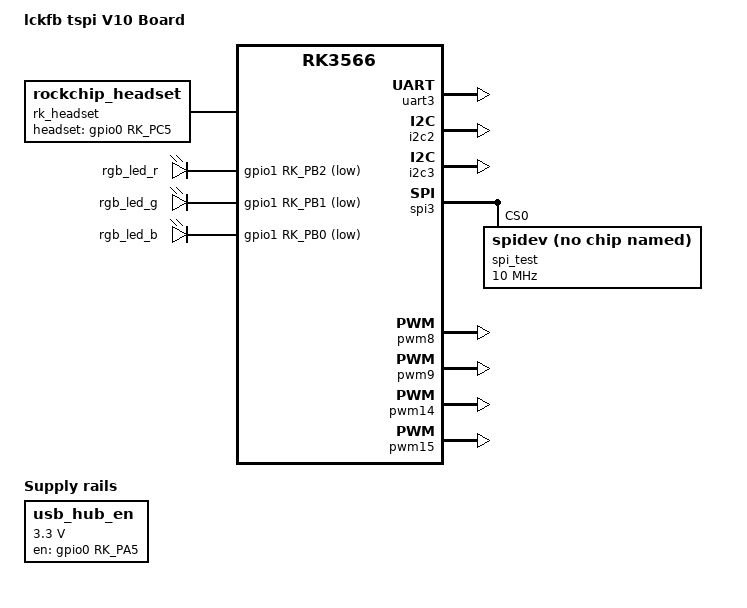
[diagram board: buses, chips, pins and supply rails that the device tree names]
/********************************************************************
 * SPDX-License-Identifier: (GPL-2.0+ OR MIT)
 * 
 * Copyright (c) 2023 Rockchip Electronics Co., Ltd.
 * Copyright (c) 2026 LCKFB <lckfb@sz-jlc.com>
 *********************************************************************
 * Wiki-(Chinese)：https://wiki.lckfb.com/
 * Wiki-(English)：https://wiki.lckfb.com/en/
 *********************************************************************/
/dts-v1/;

#include <dt-bindings/gpio/gpio.h>
#include <dt-bindings/display/media-bus-format.h>
#include <dt-bindings/pinctrl/rockchip.h>
#include "rk3566.dtsi"
#include <dt-bindings/display/rockchip_vop.h>


//tspi core config layer, rarely needs modification
#include "tspi-rk3566-core-v10.dtsi"

//[ON/OFF] EDP display screen config, users can copy and modify for their own screen
// Note: EDP and MIPI are mutually exclusive as they share VOP. Modify yourself if simultaneous display needed
// #include "tspi-rk3566-edp-v10.dtsi"

//[ON/OFF] MIPI display screen config, users can copy and modify for their own screen
// Note: EDP and MIPI are mutually exclusive as they share VOP. Modify yourself if simultaneous display needed
// #include "tspi-rk3566-dsi-v10.dtsi"

//[ON/OFF] HDMI display screen config, rarely needs modification, comment out if HDMI not needed
#include "tspi-rk3566-hdmi-v10.dtsi"

//[ON/OFF] Camera, currently using ov5695
#include "tspi-rk3566-csi-v10.dtsi"

//[ON/OFF] Ethernet, expansion board uses Gigabit Ethernet, can be disabled if not using expansion board
#include "tspi-rk3566-gmac1-v10.dtsi"

//[ON/OFF] User definition layer below, all user modifications should be made here
/ {
	model = "lckfb tspi V10 Board";
	compatible = "lckfb,tspi-v10", "rockchip,rk3566";

	rk_headset: rk-headset {
		compatible = "rockchip_headset";
		headset_gpio = <&gpio0 RK_PC5 GPIO_ACTIVE_HIGH>;
		pinctrl-names = "default";
		pinctrl-0 = <&hp_det>;
	};

	leds: leds {
		compatible = "gpio-leds";
		rgb_led_r: rgb-led-r {
			gpios = <&gpio1 RK_PB2 GPIO_ACTIVE_LOW>;
			linux,default-trigger = "timer";
			linux,delay-reg = <0>;   		// delay register
			linux,blink-delay-on = <500>; 	// on time
			linux,blink-delay-off = <500>;	// off time
		};
		rgb_led_g: rgb-led-g {
			gpios = <&gpio1 RK_PB1 GPIO_ACTIVE_LOW>;
			linux,default-trigger = "timer";
			linux,delay-reg = <100>;   		// delay register
			linux,blink-delay-on = <1000>; 
			linux,blink-delay-off = <1000>;
		};
		rgb_led_b: rgb-led-b {
			gpios = <&gpio1 RK_PB0 GPIO_ACTIVE_LOW>;
			linux,default-trigger = "timer";
			linux,delay-reg = <100>;  		// delay register
			linux,blink-delay-on = <1500>; 
			linux,blink-delay-off = <1500>;
		};
	};
	regulators: regulators {
        compatible = "simple-bus";
        #address-cells = <1>;
        #size-cells = <0>;
		
		usb_hub_en: usb-hub-en {
            compatible = "regulator-fixed";
            regulator-name = "usb_hub_en";
            gpio = <&gpio0 RK_PA5 GPIO_ACTIVE_HIGH>; 
            enable-active-high;
            regulator-always-on;
            regulator-boot-on;
            regulator-min-microvolt = <3300000>;
            regulator-max-microvolt = <3300000>;
        };
	};
};

&pinctrl {
	headphone {
		hp_det: hp-det {
			rockchip,pins = <0 RK_PC5 RK_FUNC_GPIO &pcfg_pull_none>;
		};
	};
};

//User RGB LED
&leds {
	status = "okay";
};

//Headphone insertion detection, should be disabled if not using expansion board, otherwise it will detect headphone by default
&rk_headset {
	status = "okay";
};

//User UART3
&uart3 {
	status = "okay";
	pinctrl-names = "default";
	pinctrl-0 = <&uart3m1_xfer>;
};

//User I2C2
&i2c2 {
	status = "okay";

	/*Add your I2C device reference
	gt1x: gt1x@14 {
		compatible = "goodix,gt1x";
		reg = <0x14>;
		pinctrl-names = "default";
		pinctrl-0 = <&touch_gpio>;
		goodix,rst-gpio = <&gpio0 RK_PB6 GPIO_ACTIVE_HIGH>;
		goodix,irq-gpio = <&gpio0 RK_PB5 IRQ_TYPE_LEVEL_LOW>;
	};*/
};

&i2c3 {
	status = "okay";
	pinctrl-names = "default";
	pinctrl-0 = <&i2c3m1_xfer>;
	/*Add your I2C device reference
	gt1x: gt1x@14 {
		compatible = "goodix,gt1x";
		reg = <0x14>;
		pinctrl-names = "default";
		pinctrl-0 = <&touch_gpio>;
		goodix,rst-gpio = <&gpio0 RK_PB6 GPIO_ACTIVE_HIGH>;
		goodix,irq-gpio = <&gpio0 RK_PB5 IRQ_TYPE_LEVEL_LOW>;
	};*/
};


&spi3 {
	status = "okay";
	// max-freq = <48000000>;
	// dma-names = "tx","rx";
	pinctrl-names = "default", "high_speed";
	pinctrl-0 = <&spi3m1_cs0 &spi3m1_pins>;
	pinctrl-1 = <&spi3m1_cs0 &spi3m1_pins_hs>;
	spi_test@0 {
		compatible ="rockchip,spidev";
		reg = <0>;
		spi-max-frequency = <10000000>;
		pinctrl-names = "default";
		status = "okay";
	};
};

&pwm8 {
	status = "okay";
};

&pwm9 {
	status = "okay";
};

&pwm14 {
	status = "okay";
};

//PWM15 IR remote controller
&pwm15 {
	status = "okay";
	compatible = "rockchip,remotectl-pwm";
	remote_pwm_id = <3>;
	handle_cpu_id = <1>;
	remote_support_psci = <0>;
	pinctrl-names = "default";
	pinctrl-0 = <&pwm15m0_pins>;

	//Custom method: enable adb log output and use dmesg to determine usercode=address and key_table=command
	//echo 1 > sys/module/rockchip_pwm_remotectl/parameters/code_print
	//Key codes can be found in include/dt-bindings/input/linux-event-codes.h
	ir_key1 {
		rockchip,usercode = <0xff00>;
		rockchip,key_table =
			<0xf2	KEY_MENU>,
			<0xe9	KEY_BACK>,
			<0xe3	KEY_ENTER>,
			<0xe7	KEY_UP>,
			<0xad	KEY_DOWN>,
			<0xf7	KEY_LEFT>,
			<0xa5	KEY_RIGHT>,
			<0xba	KEY_1>,
			<0xb9	KEY_2>,
			<0xb8	KEY_3>,
			<0xbb	KEY_4>,
			<0xbf	KEY_5>,
			<0xbc	KEY_6>,
			<0xf8	KEY_7>,
			<0xea	KEY_8>,
			<0xf6	KEY_9>,
			<0xe6	KEY_0>;
	};
};
